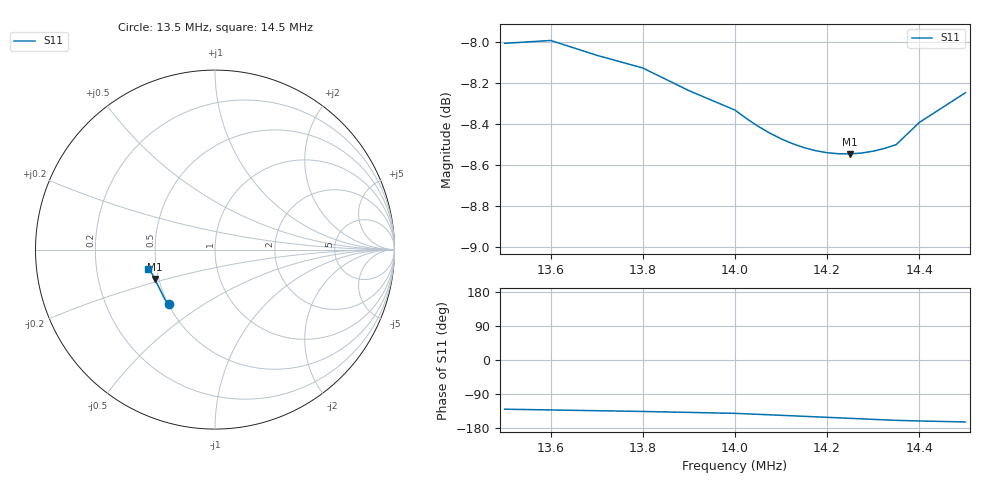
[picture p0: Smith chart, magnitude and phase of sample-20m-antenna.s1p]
# MHz S RI R 50
! 20m band antenna sweep from NanoVNA
! Sample data showing good SWR in 20m band
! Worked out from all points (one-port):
!   22 points, 13.5 MHz to 14.5 MHz, reference 50 ohm
!   lowest |S11| = -8.5 dB at 14.25 MHz (marker M1), VSWR 2.19, Z = 23.7 - j9.06 ohm
!   |S11| at or under -10 dB: nowhere
13.5  -0.2547 -0.3055
13.6  -0.2656 -0.2969
13.7  -0.2734 -0.2852
13.8  -0.2812 -0.2734
13.9  -0.2891 -0.2578
14  -0.2969 -0.2422
14.025  -0.3008 -0.2344
14.05  -0.3047 -0.2266
14.075  -0.3086 -0.2188
14.1  -0.3125 -0.2109
14.125  -0.3164 -0.2031
14.15  -0.3203 -0.1953
14.175  -0.3242 -0.1875
14.2  -0.3281 -0.1797
14.225  -0.332 -0.1719
14.25  -0.3359 -0.1641
14.275  -0.3398 -0.1562
14.3  -0.3438 -0.1484
14.325  -0.3477 -0.1406
14.35  -0.3516 -0.1328
14.4  -0.3594 -0.125
14.5  -0.3711 -0.1094
